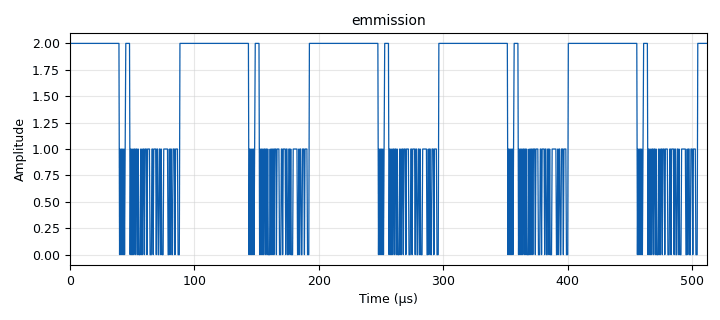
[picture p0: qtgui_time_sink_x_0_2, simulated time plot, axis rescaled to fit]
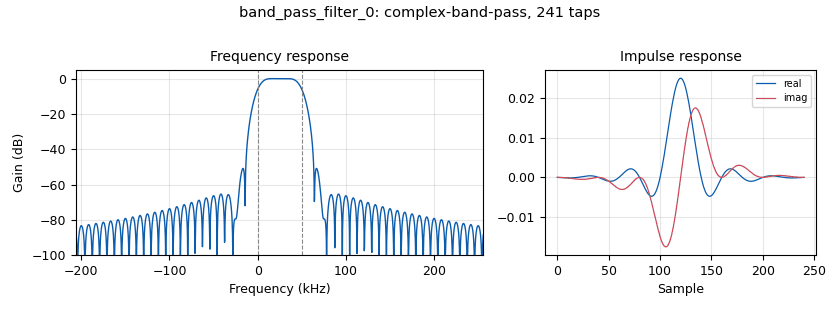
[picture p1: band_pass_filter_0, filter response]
options:
  parameters:
    category: Custom
    generate_options: qt_gui
    id: ook_transmit
    output_language: python
  states: {}

blocks:
- name: bits_per_pack
  id: variable
  parameters:
    value: '2'
  states: {}
- name: carrier_freq
  id: variable
  parameters:
    value: 433.937e6
  states: {}
- name: packet
  id: variable
  parameters:
    value: '"0101010101222222201010101101101000101011011101111000110111101100110100011111110010110011101111000222222222222222222222222222222222222222222222222222222222222222222222222222222222222222222222222222222222222222010101010122222220101010110110100010101101110111100011011110110011010001111111001011001110111100022222222222222222222222222222222222222222222222222222222222222222222222222222222222222222222222222222222222222201010101012222222010101011011010001010110111011110001101111011001101000111111100101100111011110002222222222222222222222222222222222222222222222222222222222222222222222222222222222222222222222222222222222222220101010101222222201010101101101000101011011101111000110111101100110100011111110010110011101111000222222222222222222222222222222222222222222222222222222222222222222222222222222222222222222222222222222222222222"'
  states: {}
- name: samp_rate
  id: variable
  parameters:
    value: 2e6
  states: {}
- name: symbol_rate
  id: variable
  parameters:
    value: int (4e3)
  states: {}
- name: band_pass_filter_0
  id: band_pass_filter
  parameters:
    decim: '1'
    gain: '1'
    high_cutoff_freq: 50e3
    low_cutoff_freq: '1'
    samp_rate: samp_rate
    type: fir_filter_ccc
    width: 20e3
    win: window.WIN_HAMMING
  states: {}
- name: blocks_complex_to_mag_squared_0
  id: blocks_complex_to_mag_squared
  parameters: {}
  states: {}
- name: blocks_float_to_complex_0
  id: blocks_float_to_complex
  parameters: {}
  states: {}
- name: blocks_moving_average_xx_0
  id: blocks_moving_average_xx
  parameters:
    length: int(samp_rate / symbol_rate)
    max_iter: '4000'
    scale: '1'
    type: float
  states: {}
- name: blocks_threshold_ff_0
  id: blocks_threshold_ff
  parameters:
    high: '1e-3'
    init: '0'
    low: '1e-3'
  states: {}
- name: blocks_throttle2_0
  id: blocks_throttle2
  parameters:
    samples_per_second: samp_rate
    type: byte
  states: {}
- name: blocks_uchar_to_float_0
  id: blocks_uchar_to_float
  parameters: {}
  states: {}
- name: blocks_uchar_to_float_1
  id: blocks_uchar_to_float
  parameters: {}
  states: {}
- name: blocks_unpack_k_bits_bb_0
  id: blocks_unpack_k_bits_bb
  parameters:
    k: bits_per_pack
  states: {}
- name: blocks_vector_source_x_0
  id: blocks_vector_source_x
  parameters:
    repeat: 'True'
    type: byte
    vector: '[ int (x) for x in packet ]'
  states: {}
- name: digital_map_bb_0
  id: digital_map_bb
  parameters:
    map: '[0x2, 0x1, 0x0]'
  states: {}
- name: osmosdr_sink_0
  id: osmosdr_sink
  parameters:
    args: ''
    bb_gain0: '20'
    freq0: carrier_freq
    gain0: '10'
    if_gain0: '20'
    sample_rate: samp_rate
    sync: ''
    type: fc32
  states: {}
- name: qtgui_time_sink_x_0
  id: qtgui_time_sink_x
  parameters:
    name: '"modulation"'
    size: '1024'
    srate: samp_rate
    type: complex
  states: {}
- name: qtgui_time_sink_x_0_0
  id: qtgui_time_sink_x
  parameters:
    name: '"demoduler"'
    size: '1024'
    srate: samp_rate
    type: float
  states: {}
- name: qtgui_time_sink_x_0_2
  id: qtgui_time_sink_x
  parameters:
    name: '"emmission"'
    size: '1024'
    srate: samp_rate
    type: float
  states: {}
- name: rational_resampler_xxx_0
  id: rational_resampler_xxx
  parameters:
    decim: '1'
    interp: int(samp_rate / symbol_rate)
    taps: '1'
    type: fff
  states: {}

connections:
- [band_pass_filter_0, '0', blocks_complex_to_mag_squared_0, '0']
- [blocks_complex_to_mag_squared_0, '0', blocks_threshold_ff_0, '0']
- [blocks_float_to_complex_0, '0', band_pass_filter_0, '0']
- [blocks_float_to_complex_0, '0', osmosdr_sink_0, '0']
- [blocks_float_to_complex_0, '0', qtgui_time_sink_x_0, '0']
- [blocks_moving_average_xx_0, '0', blocks_float_to_complex_0, '0']
- [blocks_threshold_ff_0, '0', qtgui_time_sink_x_0_0, '0']
- [blocks_throttle2_0, '0', digital_map_bb_0, '0']
- [blocks_uchar_to_float_0, '0', rational_resampler_xxx_0, '0']
- [blocks_uchar_to_float_1, '0', qtgui_time_sink_x_0_2, '0']
- [blocks_unpack_k_bits_bb_0, '0', blocks_uchar_to_float_0, '0']
- [blocks_vector_source_x_0, '0', blocks_throttle2_0, '0']
- [blocks_vector_source_x_0, '0', blocks_uchar_to_float_1, '0']
- [digital_map_bb_0, '0', blocks_unpack_k_bits_bb_0, '0']
- [rational_resampler_xxx_0, '0', blocks_moving_average_xx_0, '0']

metadata:
  file_format: 1
  grc_version: 3.10.11.0
